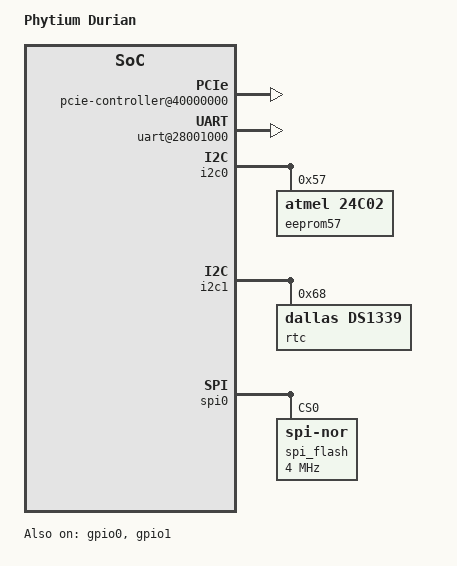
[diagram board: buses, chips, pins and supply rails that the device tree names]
// SPDX-License-Identifier: GPL-2.0+
/*
 * Copyright (C) 2019, Phytium Ltd.
 * shuyiqi  <shuyiqi@phytium.com.cn>
 */

/dts-v1/;

/ {
	model = "Phytium Durian";
	compatible = "phytium,durian";
	#address-cells = <2>;
	#size-cells = <2>;

	pcie-controller@40000000 {
		compatible = "phytium,pcie-host-1.0";
		device_type = "pci";
		#address-cells = <3>;
		#size-cells = <2>;
		reg = <0x0 0x40000000 0x0 0x10000000>;
		bus-range = <0x0 0xff>;
		ranges = <0x1000000 0x0 0x0 0x0 0x50000000 0x0 0xF00000>,
		<0x2000000 0x0 0x58000000 0x0 0x58000000 0x0 0x28000000>,
		<0x43000000 0x10 0x00000000 0x10 0x00000000 0x10  0x00000000>;
	};

	uart@28001000 {
		compatible = "arm,pl011";
		reg = <0x0 0x28001000 0x0 0x1000>;
		clock = <48000000>;
	};

	i2c0: i2c@0x28006000 {
		#address-cells = <1>;
		#size-cells = <0>;
		//compatible = "phytium,ft2004-i2c";
		compatible = "snps,designware-i2c";
		reg = <0x0 0x28006000 0x0 0x1000>;
		clock = <48000000>;

		eeprom57: eeprom@57 {
			compatible = "atmel,24c02";
			reg = <0x57>;
		};

	};

	i2c1: i2c@0x28007000 {
		#address-cells = <1>;
		#size-cells = <0>;
		//compatible = "phytium,ft2004-i2c";
		compatible = "snps,designware-i2c";
		reg = <0x0 0x28007000 0x0 0x1000>;
		clock = <48000000>;

		rtc@68 {
			compatible = "dallas,ds1339";
			reg = <0x68>;
		};

	};

	pinctrl: pinctrl@28180000 {
			compatible = "phytium,ft2004-pinctrl";
			reg = <0x0 0x28180200 0x0 0x30>;
			bank0 = <0x0 0x2>;
			bank1 = <0x0 0x2>;
			bank2 = <0x0 0x1>;
			bank3 = <0x0 0x0>;
			bank4 = <0x0 0x2>;
			bank5 = <0x0 0x0>;
			bank6 = <0x0 0x0>;
			bank7 = <0x0 0x0>;
			bank8 = <0x0 0xff>;
	};

	gpio0: gpio@28004000 {
		#address-cells = <1>;
		#size-cells = <0>;
		compatible = "phytium,gpio";
		reg = <0x0 0x28004000 0x0 0x1000>;
		status = "okay";

		porta: gpio-controller@0 {
			gpio-controller;
			#gpio-cells = <2>;
			phytium,nr-gpios = <8>;
			reg = <0>;
			interrupt-controller;
			#interrupt-cells = <2>;
		};

		portb: gpio-controller@1 {
			gpio-controller;
			#gpio-cells = <2>;
			phytium,nr-gpios = <8>;
			reg = <1>;
			interrupt-controller;
			#interrupt-cells = <2>;
		};
	};

	gpio1: gpio@28005000 {
		#address-cells = <1>;
		#size-cells = <0>;
		compatible = "phytium,gpio";
		reg = <0x0 0x28005000 0x0 0x1000>;
		status = "okay";

		portc: gpio-controller@0 {
			gpio-controller;
			#gpio-cells = <2>;
			phytium,nr-gpios = <8>;
			reg = <0>;
			interrupt-controller;
			#interrupt-cells = <2>;
		};

		portd: gpio-controller@1 {
			gpio-controller;
			#gpio-cells = <2>;
			phytium,nr-gpios = <8>;
			reg = <1>;
			interrupt-controller;
			#interrupt-cells = <2>;
		};
	};

	aliases {
		spi0 = &spi0;
	};

	spi0: spi@2800c000 {
		compatible = "phytium,phytium-spi";
		reg = <0x0 0x2800c000 0x0 0x1000>;
		#address-cells = <1>;
		#size-cells = <0>;
		spi-max-frequency = <4000000>;
		clock = <48000000>;
		//cs-gpio = <&portc 5 1>;

		spi_flash@0 {
			compatible = "jedec,spi-nor";
			reg = <0>;
			spi-max-frequency = <4000000>;
		};
	};

	watchdog0: watchdog@2800a000 {
			compatible = "arm,sbsa-gwdt";
			reg = <0x0 0x2800a000 0x0 0x1000>;
			clock = <48000000>;
		};

	watchdog1: watchdog@28016000 {
			compatible = "arm,sbsa-gwdt";
			reg = <0x0 0x28016000 0x0 0x1000>;
			clock = <48000000>;
		};
};

